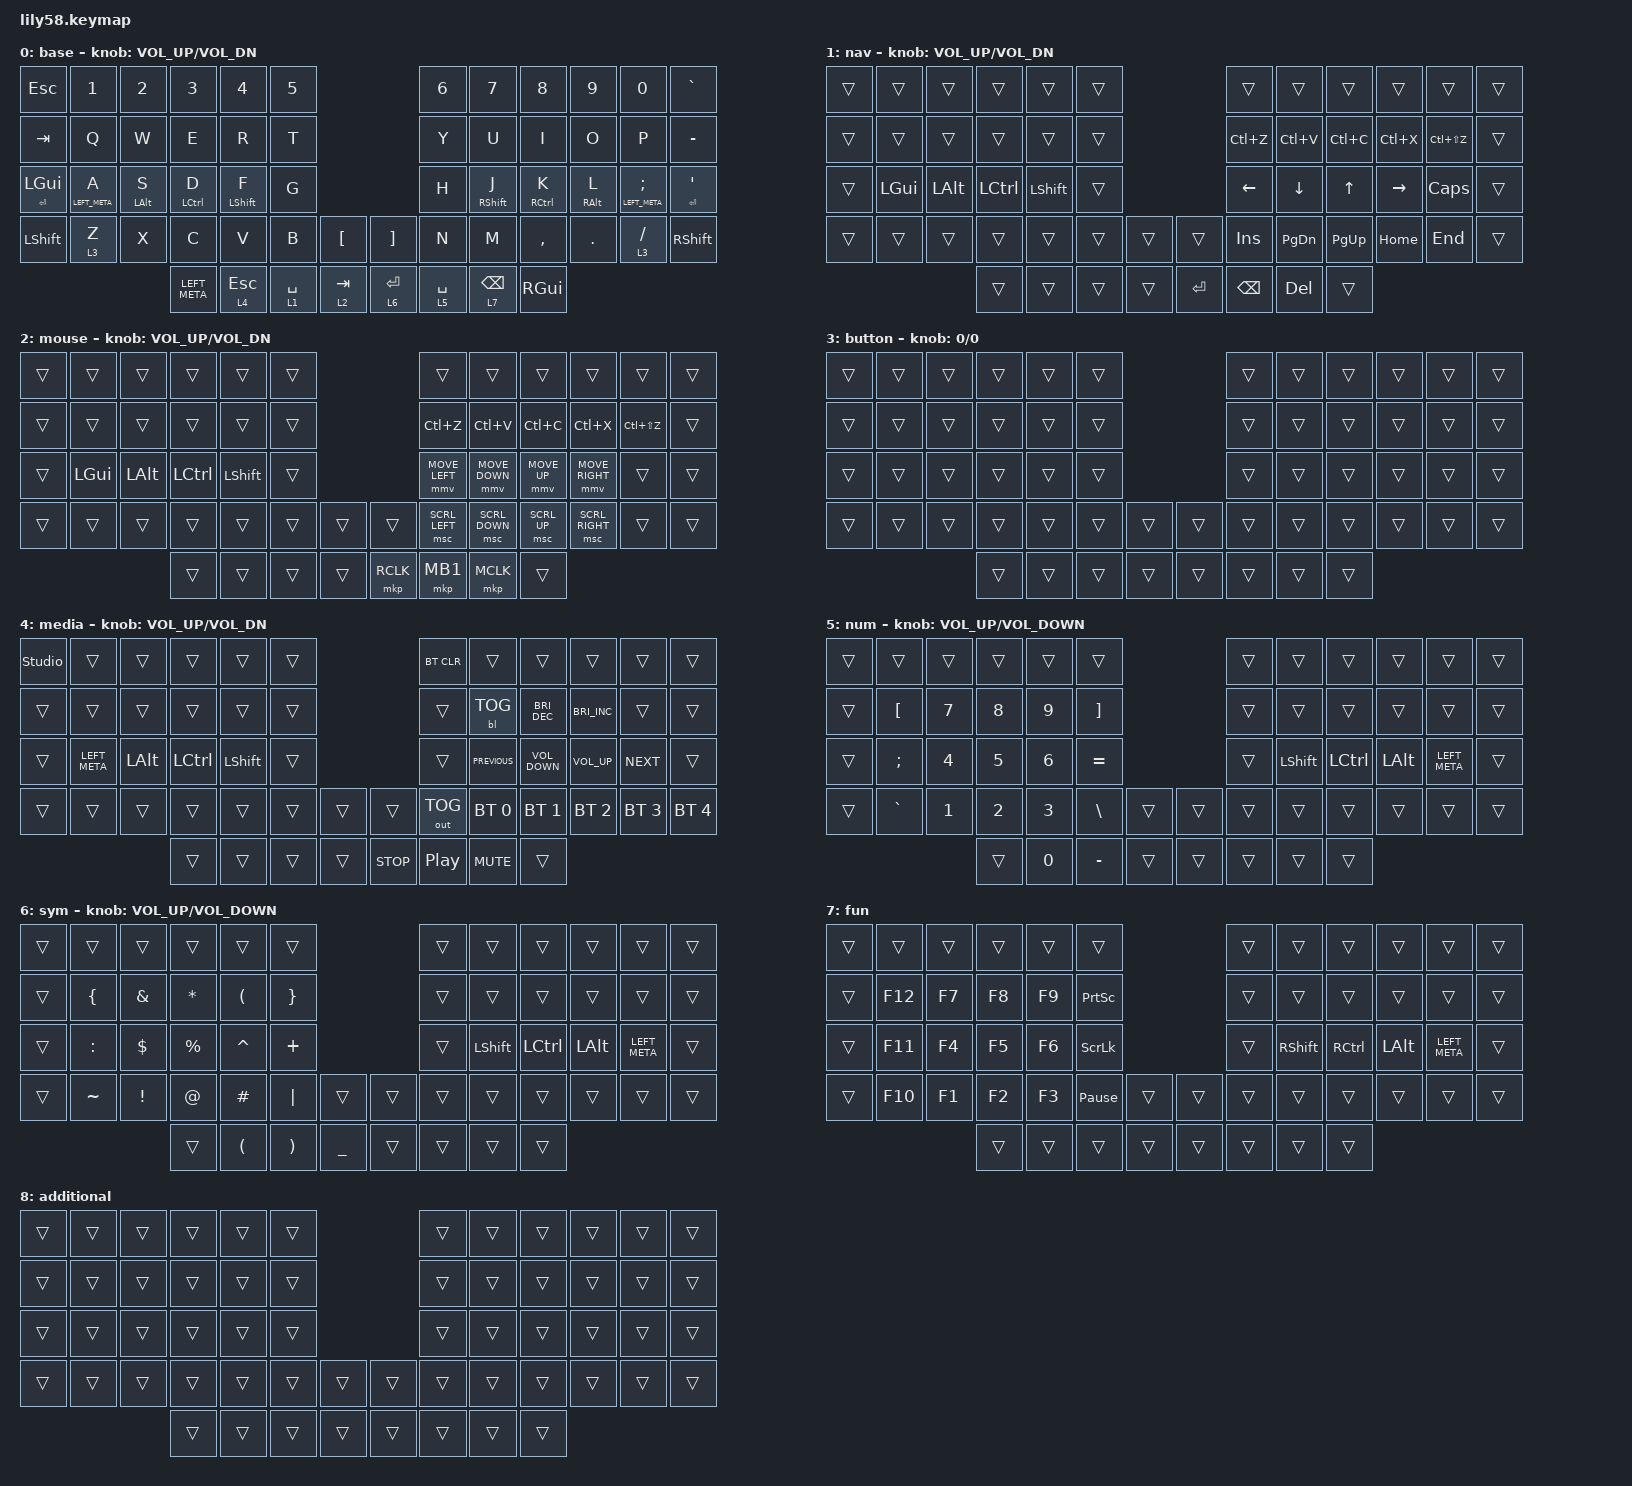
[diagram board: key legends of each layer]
/*
 * Copyright (c) 2020 The ZMK Contributors
 *
 * SPDX-License-Identifier: MIT
 */

#include <behaviors.dtsi>
#include <dt-bindings/zmk/backlight.h>
#include <dt-bindings/zmk/bt.h>
#include <dt-bindings/zmk/keys.h>
#include <dt-bindings/zmk/outputs.h>
#include <dt-bindings/zmk/pointing.h>

/ {
    keymap {
        compatible = "zmk,keymap";

        base {
            // ------------------------------------------------------------------------------------------------------------
            // |  ESC  |  1  |  2  |  3   |  4   |  5   |                   |  6   |  7    |  8    |  9   |   0   |   `   |
            // |  TAB  |  Q  |  W  |  E   |  R   |  T   |                   |  Y   |  U    |  I    |  O   |   P   |   -   |
            // |  CTRL |  A  |  S  |  D   |  F   |  G   |                   |  H   |  J    |  K    |  L   |   ;   |   '   |
            // | SHIFT |  Z  |  X  |  C   |  V   |  B   |   "["  |  |  "]"  |  N   |  M    |  ,    |  .   |   /   | SHIFT |
            //                     | ALT  | GUI  | LOWER|  SPACE |  | ENTER | RAISE| BSPC  | GUI   |

            bindings = <
&kp ESC             &kp N1           &kp N2          &kp N3         &kp N4            &kp N5                               &kp N6       &kp N7             &kp N8       &kp N9           &kp N0              &kp GRAVE
&kp TAB             &kp Q            &kp W           &kp E          &kp R             &kp T                                &kp Y        &kp U              &kp I        &kp O            &kp P               &kp MINUS
&mt ENTER LEFT_GUI  &mt LEFT_META A  &mt LEFT_ALT S  &mt LCTRL D    &mt LEFT_SHIFT F  &kp G                                &kp H        &mt RIGHT_SHIFT J  &mt RCTRL K  &mt RIGHT_ALT L  &mt LEFT_META SEMI  &mt ENTER SQT
&kp LSHFT           &lt 3 Z          &kp X           &kp C          &kp V             &kp B        &kp LBKT     &kp RBKT   &kp N        &kp M              &kp COMMA    &kp DOT          &lt 3 FSLH          &kp RSHFT
                                                     &kp LEFT_META  &lt 4 ESCAPE      &lt 1 SPACE  &lt 2 TAB    &lt 6 RET  &lt 5 SPACE  &lt 7 BACKSPACE    &kp RGUI
            >;

            sensor-bindings = <&inc_dec_kp C_VOL_UP C_VOL_DN>;
        };

        nav {
            // --------------------------------------------------------------------------------------------------------------
            // | LPAD  | BRDn | BRUp |  MUT |  Vo- |  Vo+ |                   |      |       |       |      |       |       |
            // |  F1   |  F2  |  F3  |  F4  |  F5  |  F6  |                   |  F7  |  F8   |  F9   |  F10 |  F11  |  F12  |
            // |   `   |  !   |  @   |  #   |  $   |  %   |                   |  ^   |  &    |  *    |  (   |   )   |   ~   |
            // |       |      |      |      |      |      |        |  |       |      |  _    |  +    |  {   |   }   |  "|"  |
            //                       |      |      |      |        |  |       |      |       |       |

            bindings = <
&trans  &trans    &trans    &trans     &trans     &trans                     &trans          &trans          &trans        &trans           &trans         &trans
&trans  &trans    &trans    &trans     &trans     &trans                     &kp LC(Z)       &kp LC(V)       &kp LC(C)     &kp LC(X)        &kp LC(LS(Z))  &trans
&trans  &kp LGUI  &kp LALT  &kp LCTRL  &kp LSHFT  &trans                     &kp LEFT_ARROW  &kp DOWN_ARROW  &kp UP_ARROW  &kp RIGHT_ARROW  &kp CAPSLOCK   &trans
&trans  &trans    &trans    &trans     &trans     &trans  &trans    &trans   &kp INSERT      &kp PAGE_DOWN   &kp PG_UP     &kp HOME         &kp END        &trans
                            &trans     &trans     &trans  &trans    &kp RET  &kp BSPC        &kp DEL         &trans
            >;

            sensor-bindings = <&inc_dec_kp C_VOL_UP C_VOL_DN>;
        };

        mouse {
            bindings = <
&trans  &trans    &trans    &trans     &trans     &trans                       &trans          &trans          &trans        &trans           &trans         &trans
&trans  &trans    &trans    &trans     &trans     &trans                       &kp LC(Z)       &kp LC(V)       &kp LC(C)     &kp LC(X)        &kp LC(LS(Z))  &trans
&trans  &kp LGUI  &kp LALT  &kp LCTRL  &kp LSHFT  &trans                       &mmv MOVE_LEFT  &mmv MOVE_DOWN  &mmv MOVE_UP  &mmv MOVE_RIGHT  &trans         &trans
&trans  &trans    &trans    &trans     &trans     &trans  &trans    &trans     &msc SCRL_LEFT  &msc SCRL_DOWN  &msc SCRL_UP  &msc SCRL_RIGHT  &trans         &trans
                            &trans     &trans     &trans  &trans    &mkp RCLK  &mkp MB1        &mkp MCLK       &trans
            >;

            sensor-bindings = <&inc_dec_kp C_VOL_UP C_VOL_DN>;
        };

        button {
            bindings = <
&trans  &trans  &trans  &trans  &trans  &trans                    &trans  &trans  &trans  &trans  &trans  &trans
&trans  &trans  &trans  &trans  &trans  &trans                    &trans  &trans  &trans  &trans  &trans  &trans
&trans  &trans  &trans  &trans  &trans  &trans                    &trans  &trans  &trans  &trans  &trans  &trans
&trans  &trans  &trans  &trans  &trans  &trans  &trans    &trans  &trans  &trans  &trans  &trans  &trans  &trans
                        &trans  &trans  &trans  &trans    &trans  &trans  &trans  &trans
            >;

            sensor-bindings = <&inc_dec_kp 0 0>;
        };

        media {
            bindings = <
&studio_unlock  &trans         &trans        &trans     &trans          &trans                        &bt BT_CLR        &trans          &trans             &trans           &trans        &trans
&trans          &trans         &trans        &trans     &trans          &trans                        &trans            &bl BL_TOG      &kp C_BRI_DEC      &kp C_BRI_INC    &trans        &trans
&trans          &kp LEFT_META  &kp LEFT_ALT  &kp LCTRL  &kp LEFT_SHIFT  &trans                        &trans            &kp C_PREVIOUS  &kp C_VOLUME_DOWN  &kp C_VOLUME_UP  &kp C_NEXT    &trans
&trans          &trans         &trans        &trans     &trans          &trans  &trans    &trans      &out OUT_TOG      &bt BT_SEL 0    &bt BT_SEL 1       &bt BT_SEL 2     &bt BT_SEL 3  &bt BT_SEL 4
                                             &trans     &trans          &trans  &trans    &kp C_STOP  &kp C_PLAY_PAUSE  &kp K_MUTE      &trans
            >;

            sensor-bindings = <&inc_dec_kp C_VOL_UP C_VOL_DN>;
        };

        num {
            bindings = <
&trans  &trans            &trans        &trans        &trans        &trans                               &trans  &trans          &trans     &trans        &trans         &trans
&trans  &kp LEFT_BRACKET  &kp N7        &kp N8        &kp N9        &kp RIGHT_BRACKET                    &trans  &trans          &trans     &trans        &trans         &trans
&trans  &kp SEMI          &kp NUMBER_4  &kp N5        &kp NUMBER_6  &kp EQUAL                            &trans  &kp LEFT_SHIFT  &kp LCTRL  &kp LEFT_ALT  &kp LEFT_META  &trans
&trans  &kp GRAVE         &kp NUMBER_1  &kp NUMBER_2  &kp NUMBER_3  &kp BSLH           &trans    &trans  &trans  &trans          &trans     &trans        &trans         &trans
                                        &trans        &kp N0        &kp MINUS          &trans    &trans  &trans  &trans          &trans
            >;

            sensor-bindings = <&inc_dec_kp C_VOLUME_UP C_VOLUME_DOWN>;
        };

        sym {
            bindings = <
&trans  &trans          &trans           &trans       &trans                &trans                                      &trans  &trans          &trans     &trans        &trans         &trans
&trans  &kp LEFT_BRACE  &kp AMPS         &kp ASTRK    &kp LEFT_PARENTHESIS  &kp RIGHT_BRACE                             &trans  &trans          &trans     &trans        &trans         &trans
&trans  &kp COLON       &kp DOLLAR       &kp PERCENT  &kp CARET             &kp PLUS                                    &trans  &kp LEFT_SHIFT  &kp LCTRL  &kp LEFT_ALT  &kp LEFT_META  &trans
&trans  &kp TILDE       &kp EXCLAMATION  &kp AT_SIGN  &kp HASH              &kp PIPE               &trans       &trans  &trans  &trans          &trans     &trans        &trans         &trans
                                         &trans       &kp LEFT_PARENTHESIS  &kp RIGHT_PARENTHESIS  &kp UNDER    &trans  &trans  &trans          &trans
            >;

            sensor-bindings = <&inc_dec_kp C_VOLUME_UP C_VOLUME_DOWN>;
        };

        fun {
            bindings = <
&trans  &trans   &trans  &trans  &trans  &trans                             &trans  &trans           &trans     &trans        &trans         &trans
&trans  &kp F12  &kp F7  &kp F8  &kp F9  &kp PRINTSCREEN                    &trans  &trans           &trans     &trans        &trans         &trans
&trans  &kp F11  &kp F4  &kp F5  &kp F6  &kp SCROLLLOCK                     &trans  &kp RIGHT_SHIFT  &kp RCTRL  &kp LEFT_ALT  &kp LEFT_META  &trans
&trans  &kp F10  &kp F1  &kp F2  &kp F3  &kp PAUSE_BREAK  &trans    &trans  &trans  &trans           &trans     &trans        &trans         &trans
                         &trans  &trans  &trans           &trans    &trans  &trans  &trans           &trans
            >;
        };

        additional {
            bindings = <
&trans  &trans  &trans  &trans  &trans  &trans                    &trans  &trans  &trans  &trans  &trans  &trans
&trans  &trans  &trans  &trans  &trans  &trans                    &trans  &trans  &trans  &trans  &trans  &trans
&trans  &trans  &trans  &trans  &trans  &trans                    &trans  &trans  &trans  &trans  &trans  &trans
&trans  &trans  &trans  &trans  &trans  &trans  &trans    &trans  &trans  &trans  &trans  &trans  &trans  &trans
                        &trans  &trans  &trans  &trans    &trans  &trans  &trans  &trans
            >;
        };
    };
};
